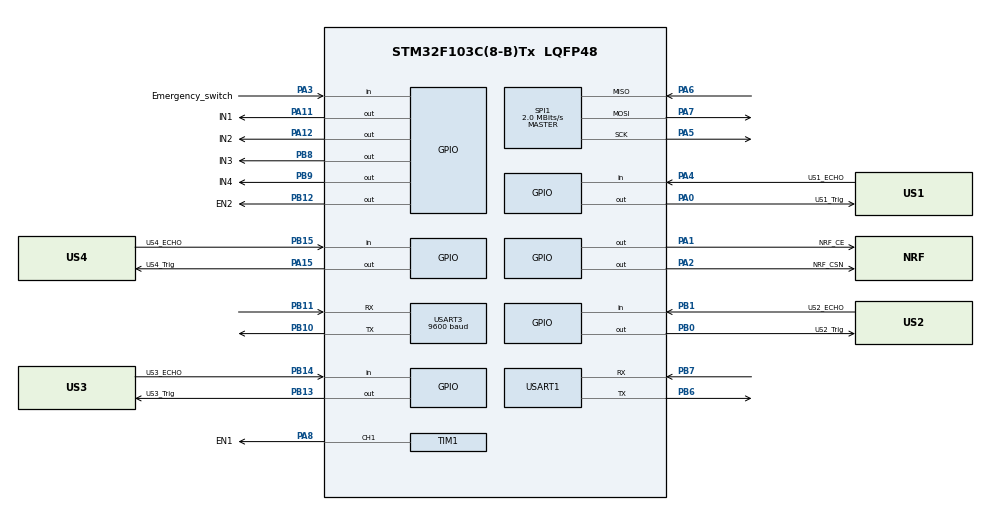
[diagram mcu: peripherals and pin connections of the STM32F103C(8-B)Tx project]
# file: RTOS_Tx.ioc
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FREERTOS.BinarySemaphores01=Mode_Sem,Dynamic,NULL
FREERTOS.Queues01=Tx_Queue,5,uint8_t,0,Dynamic,NULL,NULL;Rx_Queue,10,uint8_t,0,Dynamic,NULL,NULL;US_Queue,3,uint8_t,0,Dynamic,NULL,NULL
FREERTOS.Tasks01=defaultTask,0,128,StartDefaultTask,Default,NULL,Dynamic,NULL,NULL;Init_System,2,128,Init_Task,Default,NULL,Dynamic,NULL,NULL;myTask03,1,128,DataGathering_Task,Default,NULL,Dynamic,NULL,NULL;myTask04,0,128,VehicleComm_Task,Default,NULL,Dynamic,NULL,NULL
FREERTOS.Timers01=ActionDecision_Timer,ActionDecision_Callback,osTimerPeriodic,Default,NULL,Dynamic,NULL;Mode_Timer,Mode_Callback,osTimerPeriodic,Default,NULL,Dynamic,NULL
FREERTOS.configTIMER_TASK_PRIORITY=2
FREERTOS.configUSE_TIMERS=1
Mcu.Family=STM32F1
Mcu.Name=STM32F103C(8-B)Tx
Mcu.Package=LQFP48
NVIC.PriorityGroup=NVIC_PRIORITYGROUP_4
PA0-WKUP.GPIO_Label=US1_Trig
PA0-WKUP.Signal=GPIO_Output
PA1.GPIO_Label=NRF_CE
PA1.Signal=GPIO_Output
PA11.GPIO_Label=IN1
PA11.Signal=GPIO_Output
PA12.GPIO_Label=IN2
PA12.Signal=GPIO_Output
PA15.GPIO_Label=US4_Trig
PA15.Signal=GPIO_Output
PA2.GPIO_Label=NRF_CSN
PA2.Signal=GPIO_Output
PA3.GPIO_Label=Emergency_switch
PA3.Signal=GPIO_Input
PA4.GPIO_Label=US1_ECHO
PA4.Signal=GPIO_Input
PA5.Mode=Full_Duplex_Master
PA5.Signal=SPI1_SCK
PA6.Mode=Full_Duplex_Master
PA6.Signal=SPI1_MISO
PA7.Mode=Full_Duplex_Master
PA7.Signal=SPI1_MOSI
PA8.GPIO_Label=EN1
PA8.Signal=S_TIM1_CH1
PB0.GPIO_Label=US2_Trig
PB0.Signal=GPIO_Output
PB1.GPIO_Label=US2_ECHO
PB1.Signal=GPIO_Input
PB10.Mode=Asynchronous
PB10.Signal=USART3_TX
PB11.Mode=Asynchronous
PB11.Signal=USART3_RX
PB12.GPIO_Label=EN2
PB12.Signal=GPIO_Output
PB13.GPIO_Label=US3_Trig
PB13.Signal=GPIO_Output
PB14.GPIO_Label=US3_ECHO
PB14.Signal=GPIO_Input
PB15.GPIO_Label=US4_ECHO
PB15.Signal=GPIO_Input
PB6.Mode=Asynchronous
PB6.Signal=USART1_TX
PB7.Mode=Asynchronous
PB7.Signal=USART1_RX
PB8.GPIO_Label=IN3
PB8.Signal=GPIO_Output
PB9.GPIO_Label=IN4
PB9.Signal=GPIO_Output
PD0-OSC_IN.Mode=HSE-External-Oscillator
PD0-OSC_IN.Signal=RCC_OSC_IN
PD1-OSC_OUT.Mode=HSE-External-Oscillator
PD1-OSC_OUT.Signal=RCC_OSC_OUT
ProjectManager.HeapSize=0x200
ProjectManager.StackSize=0x400
ProjectManager.TargetToolchain=STM32CubeIDE
RCC.APB1Freq_Value=8000000
RCC.APB2Freq_Value=8000000
SH.S_TIM1_CH1.0=TIM1_CH1,PWM Generation1 CH1
SPI1.BaudRatePrescaler=SPI_BAUDRATEPRESCALER_4
SPI1.CalculateBaudRate=2.0 MBits/s
SPI1.Direction=SPI_DIRECTION_2LINES
SPI1.Mode=SPI_MODE_MASTER
SPI1.VirtualType=VM_MASTER
TIM1.Channel-PWM\ Generation1\ CH1=TIM_CHANNEL_1
TIM1.Period=256
TIM1.Prescaler=64
TIM1.Pulse-PWM\ Generation1\ CH1=65535
TIM2.Prescaler=7
TIM3.Period=50000
TIM3.Prescaler=32
USART1.VirtualMode=VM_ASYNC
USART3.BaudRate=9600
USART3.VirtualMode=VM_ASYNC
VP_FREERTOS_VS_CMSIS_V1.Mode=CMSIS_V1
VP_TIM1_VS_ClockSourceINT.Mode=Internal
VP_TIM2_VS_ClockSourceINT.Mode=Internal
VP_TIM3_VS_ClockSourceINT.Mode=Internal
board=custom

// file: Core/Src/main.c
/* USER CODE BEGIN Header */
/**
  ******************************************************************************
  * @file           : main.c
  * @brief          : Main program body
  ******************************************************************************
  * @attention
  *
  * Copyright (c) 2023 STMicroelectronics.
  * All rights reserved.
  *
  * This software is licensed under terms that can be found in the LICENSE file
  * in the root directory of this software component.
  * If no LICENSE file comes with this software, it is provided AS-IS.
  *
  ******************************************************************************
  */
/* USER CODE END Header */
#include "main.h"
#include "cmsis_os.h"

/* USER CODE BEGIN Includes */
#include "HAL/dc_motor.h"
#include "HAL/Ultrasonic.h"
#include "HAL/HAL_NRF.h"
#include "HAL/GSM.h"
/* USER CODE END Includes */

SPI_HandleTypeDef hspi1;

TIM_HandleTypeDef htim1;
TIM_HandleTypeDef htim2;
TIM_HandleTypeDef htim3;

UART_HandleTypeDef huart1;
UART_HandleTypeDef huart3;

osThreadId defaultTaskHandle;
osThreadId Init_SystemHandle;
osThreadId myTask03Handle;
osThreadId myTask04Handle;
osMessageQId Tx_QueueHandle;
osMessageQId Rx_QueueHandle;
osMessageQId US_QueueHandle;
osTimerId ActionDecision_TimerHandle;
osTimerId Mode_TimerHandle;
osSemaphoreId Mode_SemHandle;
/* USER CODE BEGIN PV */

/* Car State */
uint8_t Car_State = STATE_STATIONARY ;
uint8_t Car_Direction  ;
uint8_t Car_Speed  ;
uint8_t Indication_value ;
uint8_t System_Mode = Stationary_Mode ;

/* BM Receive Variable */
uint8_t rxData ;
uint8_t TMR_Counter = 0 ;

/* UltraSonic */
uint16_t US_ARR[4] = {50 , 50, 50 , 50} ;
uint8_t US_Decision = 0 ;

/* NRF */

/* Address of PIPE 1 */
uint8_t TxAddress[] = {0xEE,0xDD,0xCC,0xBB,0xAA} ;

/* Data to be Sent */
/*
 * S --> Speed
 * D --> Direction
 * M --> Distance
 * I --> Indication
 *
 */
uint8_t Data_States[4] = {'S','D','M','I'}  ;
uint8_t Data_Sent[8]  ;
uint8_t Debug_Var ;
DataTransfer_t Data_Tx ;

/* USER CODE END PV */

void SystemClock_Config(void);
static void MX_GPIO_Init(void);
static void MX_SPI1_Init(void);
static void MX_TIM1_Init(void);
static void MX_TIM2_Init(void);
static void MX_TIM3_Init(void);
static void MX_USART1_UART_Init(void);
static void MX_USART3_UART_Init(void);
void StartDefaultTask(void const * argument);
void Init_Task(void const * argument);
void DataGathering_Task(void const * argument);
void VehicleComm_Task(void const * argument);
void ActionDecision_Callback(void const * argument);
void Mode_Callback(void const * argument);

int main(void)
{

  /* MCU Configuration--------------------------------------------------------*/

  /* Reset of all peripherals, Initializes the Flash interface and the Systick. */
  HAL_Init();

  /* Configure the system clock */
  SystemClock_Config();

  /* Initialize all configured peripherals */
  MX_GPIO_Init();
  MX_SPI1_Init();
  MX_TIM1_Init();
  MX_TIM2_Init();
  MX_TIM3_Init();
  MX_USART1_UART_Init();
  MX_USART3_UART_Init();

  /* Create the semaphores(s) */
  /* definition and creation of Mode_Sem */
  osSemaphoreDef(Mode_Sem);
  Mode_SemHandle = osSemaphoreCreate(osSemaphore(Mode_Sem), 1);

  /* Create the timer(s) */
  /* definition and creation of ActionDecision_Timer */
  osTimerDef(ActionDecision_Timer, ActionDecision_Callback);
  ActionDecision_TimerHandle = osTimerCreate(osTimer(ActionDecision_Timer), osTimerPeriodic, NULL);

  /* definition and creation of Mode_Timer */
  osTimerDef(Mode_Timer, Mode_Callback);
  Mode_TimerHandle = osTimerCreate(osTimer(Mode_Timer), osTimerPeriodic, NULL);

  /* Create the queue(s) */
  /* definition and creation of Tx_Queue */
  osMessageQDef(Tx_Queue, 5, uint8_t);
  Tx_QueueHandle = osMessageCreate(osMessageQ(Tx_Queue), NULL);

  /* definition and creation of Rx_Queue */
  osMessageQDef(Rx_Queue, 10, uint8_t);
  Rx_QueueHandle = osMessageCreate(osMessageQ(Rx_Queue), NULL);

  /* definition and creation of US_Queue */
  osMessageQDef(US_Queue, 3, uint8_t);
  US_QueueHandle = osMessageCreate(osMessageQ(US_Queue), NULL);

  /* Create the thread(s) */
  /* definition and creation of defaultTask */
  osThreadDef(defaultTask, StartDefaultTask, osPriorityNormal, 0, 128);
  defaultTaskHandle = osThreadCreate(osThread(defaultTask), NULL);

  /* definition and creation of Init_System */
  osThreadDef(Init_System, Init_Task, osPriorityHigh, 0, 128);
  Init_SystemHandle = osThreadCreate(osThread(Init_System), NULL);

  /* definition and creation of myTask03 */
  osThreadDef(myTask03, DataGathering_Task, osPriorityAboveNormal, 0, 128);
  myTask03Handle = osThreadCreate(osThread(myTask03), NULL);

  /* definition and creation of myTask04 */
  osThreadDef(myTask04, VehicleComm_Task, osPriorityNormal, 0, 128);
  myTask04Handle = osThreadCreate(osThread(myTask04), NULL);

  /* Start scheduler */
  osKernelStart();

  /* We should never get here as control is now taken by the scheduler */
  /* Infinite loop */
  while (1)
  {

  }
}

void SystemClock_Config(void)
{
  RCC_OscInitTypeDef RCC_OscInitStruct = {0};
  RCC_ClkInitTypeDef RCC_ClkInitStruct = {0};

  /** Initializes the RCC Oscillators according to the specified parameters
  * in the RCC_OscInitTypeDef structure.
  */
  RCC_OscInitStruct.OscillatorType = RCC_OSCILLATORTYPE_HSI;
  RCC_OscInitStruct.HSIState = RCC_HSI_ON;
  RCC_OscInitStruct.HSICalibrationValue = RCC_HSICALIBRATION_DEFAULT;
  RCC_OscInitStruct.PLL.PLLState = RCC_PLL_NONE;
  if (HAL_RCC_OscConfig(&RCC_OscInitStruct) != HAL_OK)
  {
    Error_Handler();
  }

  /** Initializes the CPU, AHB and APB buses clocks
  */
  RCC_ClkInitStruct.ClockType = RCC_CLOCKTYPE_HCLK|RCC_CLOCKTYPE_SYSCLK
                              |RCC_CLOCKTYPE_PCLK1|RCC_CLOCKTYPE_PCLK2;
  RCC_ClkInitStruct.SYSCLKSource = RCC_SYSCLKSOURCE_HSI;
  RCC_ClkInitStruct.AHBCLKDivider = RCC_SYSCLK_DIV1;
  RCC_ClkInitStruct.APB1CLKDivider = RCC_HCLK_DIV1;
  RCC_ClkInitStruct.APB2CLKDivider = RCC_HCLK_DIV1;

  if (HAL_RCC_ClockConfig(&RCC_ClkInitStruct, FLASH_LATENCY_0) != HAL_OK)
  {
    Error_Handler();
  }
}

static void MX_SPI1_Init(void)
{

  /* SPI1 parameter configuration*/
  hspi1.Instance = SPI1;
  hspi1.Init.Mode = SPI_MODE_MASTER;
  hspi1.Init.Direction = SPI_DIRECTION_2LINES;
  hspi1.Init.DataSize = SPI_DATASIZE_8BIT;
  hspi1.Init.CLKPolarity = SPI_POLARITY_LOW;
  hspi1.Init.CLKPhase = SPI_PHASE_1EDGE;
  hspi1.Init.NSS = SPI_NSS_SOFT;
  hspi1.Init.BaudRatePrescaler = SPI_BAUDRATEPRESCALER_4;
  hspi1.Init.FirstBit = SPI_FIRSTBIT_MSB;
  hspi1.Init.TIMode = SPI_TIMODE_DISABLE;
  hspi1.Init.CRCCalculation = SPI_CRCCALCULATION_DISABLE;
  hspi1.Init.CRCPolynomial = 10;
  if (HAL_SPI_Init(&hspi1) != HAL_OK)
  {
    Error_Handler();
  }

}

static void MX_TIM1_Init(void)
{

  TIM_ClockConfigTypeDef sClockSourceConfig = {0};
  TIM_MasterConfigTypeDef sMasterConfig = {0};
  TIM_OC_InitTypeDef sConfigOC = {0};
  TIM_BreakDeadTimeConfigTypeDef sBreakDeadTimeConfig = {0};

  htim1.Instance = TIM1;
  htim1.Init.Prescaler = 64;
  htim1.Init.CounterMode = TIM_COUNTERMODE_UP;
  htim1.Init.Period = 256;
  htim1.Init.ClockDivision = TIM_CLOCKDIVISION_DIV1;
  htim1.Init.RepetitionCounter = 0;
  htim1.Init.AutoReloadPreload = TIM_AUTORELOAD_PRELOAD_DISABLE;
  if (HAL_TIM_Base_Init(&htim1) != HAL_OK)
  {
    Error_Handler();
  }
  sClockSourceConfig.ClockSource = TIM_CLOCKSOURCE_INTERNAL;
  if (HAL_TIM_ConfigClockSource(&htim1, &sClockSourceConfig) != HAL_OK)
  {
    Error_Handler();
  }
  if (HAL_TIM_PWM_Init(&htim1) != HAL_OK)
  {
    Error_Handler();
  }
  sMasterConfig.MasterOutputTrigger = TIM_TRGO_RESET;
  sMasterConfig.MasterSlaveMode = TIM_MASTERSLAVEMODE_DISABLE;
  if (HAL_TIMEx_MasterConfigSynchronization(&htim1, &sMasterConfig) != HAL_OK)
  {
    Error_Handler();
  }
  sConfigOC.OCMode = TIM_OCMODE_PWM1;
  sConfigOC.Pulse = 65535;
  sConfigOC.OCPolarity = TIM_OCPOLARITY_HIGH;
  sConfigOC.OCNPolarity = TIM_OCNPOLARITY_HIGH;
  sConfigOC.OCFastMode = TIM_OCFAST_DISABLE;
  sConfigOC.OCIdleState = TIM_OCIDLESTATE_RESET;
  sConfigOC.OCNIdleState = TIM_OCNIDLESTATE_RESET;
  if (HAL_TIM_PWM_ConfigChannel(&htim1, &sConfigOC, TIM_CHANNEL_1) != HAL_OK)
  {
    Error_Handler();
  }
  sBreakDeadTimeConfig.OffStateRunMode = TIM_OSSR_DISABLE;
  sBreakDeadTimeConfig.OffStateIDLEMode = TIM_OSSI_DISABLE;
  sBreakDeadTimeConfig.LockLevel = TIM_LOCKLEVEL_OFF;
  sBreakDeadTimeConfig.DeadTime = 0;
  sBreakDeadTimeConfig.BreakState = TIM_BREAK_DISABLE;
  sBreakDeadTimeConfig.BreakPolarity = TIM_BREAKPOLARITY_HIGH;
  sBreakDeadTimeConfig.AutomaticOutput = TIM_AUTOMATICOUTPUT_DISABLE;
  if (HAL_TIMEx_ConfigBreakDeadTime(&htim1, &sBreakDeadTimeConfig) != HAL_OK)
  {
    Error_Handler();
  }
  HAL_TIM_MspPostInit(&htim1);

}

static void MX_TIM2_Init(void)
{

  TIM_ClockConfigTypeDef sClockSourceConfig = {0};
  TIM_MasterConfigTypeDef sMasterConfig = {0};

  htim2.Instance = TIM2;
  htim2.Init.Prescaler = 7;
  htim2.Init.CounterMode = TIM_COUNTERMODE_UP;
  htim2.Init.Period = 65535;
  htim2.Init.ClockDivision = TIM_CLOCKDIVISION_DIV1;
  htim2.Init.AutoReloadPreload = TIM_AUTORELOAD_PRELOAD_DISABLE;
  if (HAL_TIM_Base_Init(&htim2) != HAL_OK)
  {
    Error_Handler();
  }
  sClockSourceConfig.ClockSource = TIM_CLOCKSOURCE_INTERNAL;
  if (HAL_TIM_ConfigClockSource(&htim2, &sClockSourceConfig) != HAL_OK)
  {
    Error_Handler();
  }
  sMasterConfig.MasterOutputTrigger = TIM_TRGO_RESET;
  sMasterConfig.MasterSlaveMode = TIM_MASTERSLAVEMODE_DISABLE;
  if (HAL_TIMEx_MasterConfigSynchronization(&htim2, &sMasterConfig) != HAL_OK)
  {
    Error_Handler();
  }

}

static void MX_TIM3_Init(void)
{

  TIM_ClockConfigTypeDef sClockSourceConfig = {0};
  TIM_MasterConfigTypeDef sMasterConfig = {0};

  htim3.Instance = TIM3;
  htim3.Init.Prescaler = 32;
  htim3.Init.CounterMode = TIM_COUNTERMODE_UP;
  htim3.Init.Period = 50000;
  htim3.Init.ClockDivision = TIM_CLOCKDIVISION_DIV1;
  htim3.Init.AutoReloadPreload = TIM_AUTORELOAD_PRELOAD_DISABLE;
  if (HAL_TIM_Base_Init(&htim3) != HAL_OK)
  {
    Error_Handler();
  }
  sClockSourceConfig.ClockSource = TIM_CLOCKSOURCE_INTERNAL;
  if (HAL_TIM_ConfigClockSource(&htim3, &sClockSourceConfig) != HAL_OK)
  {
    Error_Handler();
  }
  sMasterConfig.MasterOutputTrigger = TIM_TRGO_RESET;
  sMasterConfig.MasterSlaveMode = TIM_MASTERSLAVEMODE_DISABLE;
  if (HAL_TIMEx_MasterConfigSynchronization(&htim3, &sMasterConfig) != HAL_OK)
  {
    Error_Handler();
  }

}

static void MX_USART1_UART_Init(void)
{

  huart1.Instance = USART1;
  huart1.Init.BaudRate = 115200;
  huart1.Init.WordLength = UART_WORDLENGTH_8B;
  huart1.Init.StopBits = UART_STOPBITS_1;
  huart1.Init.Parity = UART_PARITY_NONE;
  huart1.Init.Mode = UART_MODE_TX_RX;
  huart1.Init.HwFlowCtl = UART_HWCONTROL_NONE;
  huart1.Init.OverSampling = UART_OVERSAMPLING_16;
  if (HAL_UART_Init(&huart1) != HAL_OK)
  {
    Error_Handler();
  }

}

static void MX_USART3_UART_Init(void)
{

  huart3.Instance = USART3;
  huart3.Init.BaudRate = 9600;
  huart3.Init.WordLength = UART_WORDLENGTH_8B;
  huart3.Init.StopBits = UART_STOPBITS_1;
  huart3.Init.Parity = UART_PARITY_NONE;
  huart3.Init.Mode = UART_MODE_TX_RX;
  huart3.Init.HwFlowCtl = UART_HWCONTROL_NONE;
  huart3.Init.OverSampling = UART_OVERSAMPLING_16;
  if (HAL_UART_Init(&huart3) != HAL_OK)
  {
    Error_Handler();
  }

}

static void MX_GPIO_Init(void)
{
  GPIO_InitTypeDef GPIO_InitStruct = {0};

  /* GPIO Ports Clock Enable */
  __HAL_RCC_GPIOD_CLK_ENABLE();
  __HAL_RCC_GPIOA_CLK_ENABLE();
  __HAL_RCC_GPIOB_CLK_ENABLE();

  /*Configure GPIO pin Output Level */
  HAL_GPIO_WritePin(GPIOA, US1_Trig_Pin|NRF_CE_Pin|NRF_CSN_Pin|IN1_Pin
                          |IN2_Pin|US4_Trig_Pin, GPIO_PIN_RESET);

  /*Configure GPIO pin Output Level */
  HAL_GPIO_WritePin(GPIOB, US2_Trig_Pin|EN2_Pin|US3_Trig_Pin|IN3_Pin
                          |IN4_Pin, GPIO_PIN_RESET);

  /*Configure GPIO pins : US1_Trig_Pin NRF_CE_Pin NRF_CSN_Pin IN1_Pin
                           IN2_Pin US4_Trig_Pin */
  GPIO_InitStruct.Pin = US1_Trig_Pin|NRF_CE_Pin|NRF_CSN_Pin|IN1_Pin
                          |IN2_Pin|US4_Trig_Pin;
  GPIO_InitStruct.Mode = GPIO_MODE_OUTPUT_PP;
  GPIO_InitStruct.Pull = GPIO_NOPULL;
  GPIO_InitStruct.Speed = GPIO_SPEED_FREQ_LOW;
  HAL_GPIO_Init(GPIOA, &GPIO_InitStruct);

  /*Configure GPIO pins : Emergency_switch_Pin US1_ECHO_Pin */
  GPIO_InitStruct.Pin = Emergency_switch_Pin|US1_ECHO_Pin;
  GPIO_InitStruct.Mode = GPIO_MODE_INPUT;
  GPIO_InitStruct.Pull = GPIO_NOPULL;
  HAL_GPIO_Init(GPIOA, &GPIO_InitStruct);

  /*Configure GPIO pins : US2_Trig_Pin EN2_Pin US3_Trig_Pin IN3_Pin
                           IN4_Pin */
  GPIO_InitStruct.Pin = US2_Trig_Pin|EN2_Pin|US3_Trig_Pin|IN3_Pin
                          |IN4_Pin;
  GPIO_InitStruct.Mode = GPIO_MODE_OUTPUT_PP;
  GPIO_InitStruct.Pull = GPIO_NOPULL;
  GPIO_InitStruct.Speed = GPIO_SPEED_FREQ_LOW;
  HAL_GPIO_Init(GPIOB, &GPIO_InitStruct);

  /*Configure GPIO pins : US2_ECHO_Pin US3_ECHO_Pin US4_ECHO_Pin */
  GPIO_InitStruct.Pin = US2_ECHO_Pin|US3_ECHO_Pin|US4_ECHO_Pin;
  GPIO_InitStruct.Mode = GPIO_MODE_INPUT;
  GPIO_InitStruct.Pull = GPIO_NOPULL;
  HAL_GPIO_Init(GPIOB, &GPIO_InitStruct);

}

void StartDefaultTask(void const * argument)
{
  for(;;)
  {
    osDelay(1);
  }
}

void Init_Task(void const * argument)
{
  /* USER CODE BEGIN Init_Task */
  /* Infinite loop */
  for(;;)
  {
	  	HAL_voidUltraSonicInit() ;
	    NRF_voidInit();
	    NRF_voidTransmitterMode (TxAddress ,10 );
	    GSM_VidInit();
	    GSM_VidCheckConnection();
	    HAL_UART_Transmit(&huart1,'R',1,100); //indicate initialization finished

	    /*Emergency mode Robbery*/
	    while(HAL_GPIO_ReadPin(GPIOA, GPIO_PIN_3))
	    {
	    	System_Mode = Emergency_Mode;
	    }
	    HAL_UART_Receive_IT(&huart1,&rxData,1); // Enabling interrupt receive

	    osThreadTerminate(Init_SystemHandle); //delete task
  }
  /* USER CODE END Init_Task */
}

void DataGathering_Task(void const * argument)
{
  /* USER CODE BEGIN DataGathering_Task */
  /* Infinite loop */
  for(;;)
  {
	  //read 4 US and insert data into Tx queue
	  HAL_voidUltraSonic (US_ARR);
	  for(uint8_t i = 0 ; i < 4 ; i++)
	  {
		  xQueueSend( Tx_QueueHandle, &US_ARR[i] , portMAX_DELAY );
	  }

	  //insert BM reading into Tx queue
	  xQueueSend( Tx_QueueHandle, &rxData , portMAX_DELAY );

    osDelay(1);
  }
  /* USER CODE END DataGathering_Task */
}

void VehicleComm_Task(void const * argument)
{
  for(;;)
  {
    osDelay(1);
  }
}

/* ActionDecision_Callback function */
void ActionDecision_Callback(void const * argument)
{
  /* USER CODE BEGIN ActionDecision_Callback */
	uint16_t US_data[4] , BM , US_Decision;
	 for(uint8_t i = 0 ; i < 4 ; i++)
	  {
		 xQueueReceive( Tx_QueueHandle, &US_data[i] , portMAX_DELAY );
	  }
	 xQueueReceive( Tx_QueueHandle, &BM , portMAX_DELAY );
	switch (BM)
		  	{

		  	case 'F' :
		  		Car_Direction = FORWARD ;
		  		Car_State = STATE_MOVING ;
		  		break ;

		  	case 'B' :
		  		Car_Direction = BACKWARD ;
		      	Car_State = STATE_MOVING ;
		      	break ;

		  	case 'R' :
		  		Car_Direction = RIGHT ;
		  		Car_State = STATE_MOVING ;
		      	break ;

		  	case 'L' :
		  		Car_Direction = LEFT ;
		  		Car_State = STATE_MOVING ;
		      	break ;

		  	case 'P' :
		  		HAL_voidControlMotors(SPEED_0,STOP) ;
		  		Car_State = STATE_STOP ;
		      	break ;
		  	}
	US_Decision = HAL_UltraSonic_Decision(US_data);

	if (US_Decision == 254)
		{
		    Indication_value = INDICATION_NORMAL ;
			HAL_voidControlMotors(Normal_SPEED,Car_Direction) ;
			Car_Speed = Normal_SPEED ;
			HAL_UART_Transmit(&huart1,(uint8_t*)"D",1,100);
		}
		else if (US_Decision == STOP)
		{
			Indication_value = INDICATION_OBSTACLE ;
			HAL_voidControlMotors(SPEED_0,STOP) ;
			Car_Speed = SPEED_0 ;
			HAL_UART_Transmit(&huart1,(uint8_t*)"P",1,100);
		}
		else if (US_Decision == SPEED_25)
		{
			Indication_value = INDICATION_TRAFFIC ;
			HAL_voidControlMotors(SPEED_25,Car_Direction) ;
			Car_Speed = SPEED_25 ;
			HAL_UART_Transmit(&huart1,(uint8_t*)"S",1,100);
		}
	/* Update NRF values*/
	Data_Sent[0]	 = Data_States[0]						;
	Data_Sent[1]	 = Car_Speed							;
	Data_Sent[2]	 = Data_States[1]						;
	Data_Sent[3]	 = Car_Direction						;
	Data_Sent[4]     = Data_States[2]						;  /* Distance  */
	Data_Sent[5]     = US_data[3]			    			;
	Data_Sent[6]	 = Data_States[3]						;
	Data_Sent[7]	 = Indication_value						;

	xQueueSend( Tx_QueueHandle, &Data_States[0] , portMAX_DELAY );
	xQueueSend( Tx_QueueHandle, &Data_Sent[1] , portMAX_DELAY );
	xQueueSend( Tx_QueueHandle, &Data_States[1] , portMAX_DELAY );
	xQueueSend( Tx_QueueHandle, &Data_Sent[3] , portMAX_DELAY );
	xQueueSend( Tx_QueueHandle, &Data_States[2] , portMAX_DELAY );
	xQueueSend( Tx_QueueHandle, &Data_Sent[5] , portMAX_DELAY );
	xQueueSend( Tx_QueueHandle, &Data_States[3] , portMAX_DELAY );
	xQueueSend( Tx_QueueHandle, &Data_Sent[7] , portMAX_DELAY );
  /* USER CODE END ActionDecision_Callback */
}

/* Mode_Callback function */
void Mode_Callback(void const * argument)
{
}

void Error_Handler(void)
{
  __disable_irq();
  while (1)
  {
  }
}
